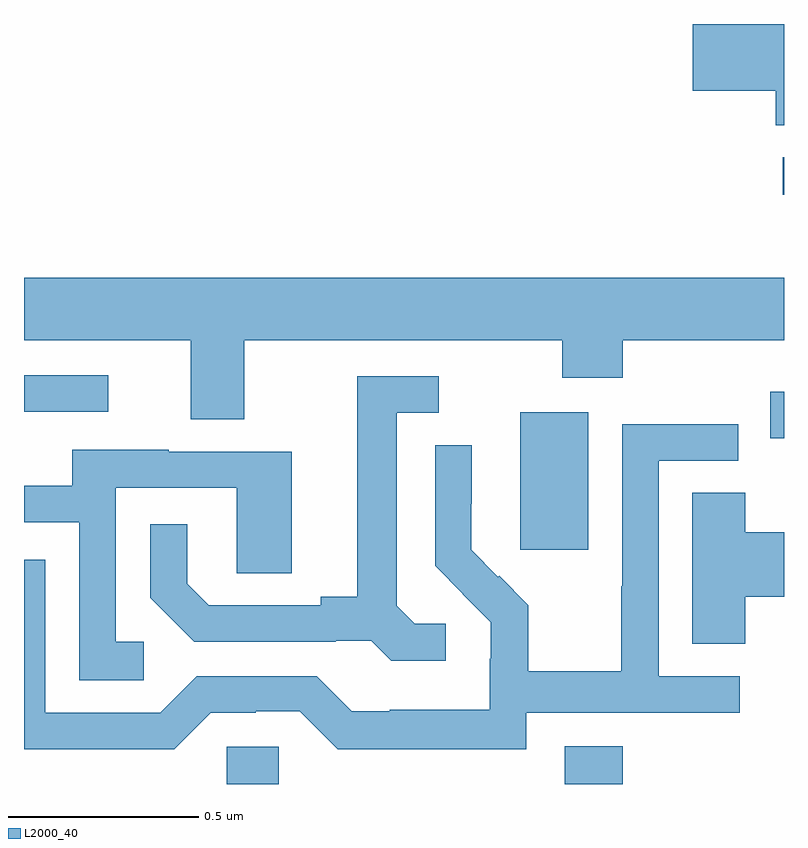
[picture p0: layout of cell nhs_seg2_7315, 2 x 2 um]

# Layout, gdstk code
import gdstk
lib = gdstk.Library(unit=1e-6, precision=1e-09)
def R(c, l, rs):  # rectangles x0, y0, x1, y1
    for r in rs: c.add(gdstk.rectangle(r[:2], r[2:], *l))
def P(c, l, *ps):  # polygons
    for p in ps: c.add(gdstk.Polygon(p, *l))
L2000_40 = (2000, 40)

nhs_seg2_7315 = lib.new_cell('nhs_seg2_7315')
R(nhs_seg2_7315, L2000_40, [(202.533,647.8,202.671,647.898), (203.423,647.8,203.576,647.899), (203.306,648.417,203.485,648.778), (203.964,648.71,204,648.832), (202,648.78,202.222,648.876), (203.997,649.351,204,649.449)])
P(nhs_seg2_7315, L2000_40, [(204,649.8),(203.76,649.8),(203.76,649.625),(203.978,649.625),(203.978,649.534),(204,649.534)],
  [(202.579,648.968),(203.416,648.968),(203.416,648.869),(203.576,648.869),(203.576,648.968),(204,648.968),(204,649.132),(202,649.132),(202,648.968),(202.439,648.968),(202.439,648.76),(202.579,648.76)],
  [(203.11,648.222),(203.028,648.222),(202.981,648.269),(202.981,648.777),(203.092,648.777),(203.092,648.873),(202.877,648.873),(202.877,648.293),(202.781,648.293),(202.781,648.27),(202.486,648.27),(202.429,648.327),(202.429,648.484),(202.332,648.484),(202.332,648.29),(202.448,648.174),(202.82,648.174),(202.82,648.177),(202.914,648.177),(202.966,648.125),(203.11,648.125)],
  [(203.322,647.988),(203.884,647.988),(203.884,648.084),(203.67,648.084),(203.67,648.651),(203.879,648.651),(203.879,648.747),(203.574,648.747),(203.574,648.32),(203.572,648.32),(203.572,648.097),(203.327,648.097),(203.327,648.271),(203.25,648.348),(203.247,648.345),(203.177,648.416),(203.177,648.538),(203.178,648.538),(203.178,648.692),(203.082,648.692),(203.082,648.374),(203.155,648.301),(203.154,648.3),(203.228,648.226),(203.228,648.129),(203.226,648.129),(203.226,647.995),(202.963,647.995),(202.963,647.991),(202.863,647.991),(202.77,648.084),(202.455,648.084),(202.359,647.988),(202.056,647.988),(202.056,648.39),(202,648.39),(202,647.892),(202.395,647.892),(202.491,647.988),(202.61,647.988),(202.61,647.991),(202.725,647.991),(202.825,647.891),(203.322,647.891)],
  [(202.315,648.174),(202.242,648.174),(202.242,648.579),(202.56,648.579),(202.56,648.355),(202.705,648.355),(202.705,648.675),(202.381,648.675),(202.381,648.679),(202.127,648.679),(202.127,648.585),(202,648.585),(202,648.489),(202.146,648.489),(202.146,648.073),(202.315,648.073)],
  [(203.898,648.293),(204,648.293),(204,648.463),(203.898,648.463),(203.898,648.566),(203.759,648.566),(203.759,648.169),(203.898,648.169)])

lib.write_gds('nhs_seg2_7315.gds')
